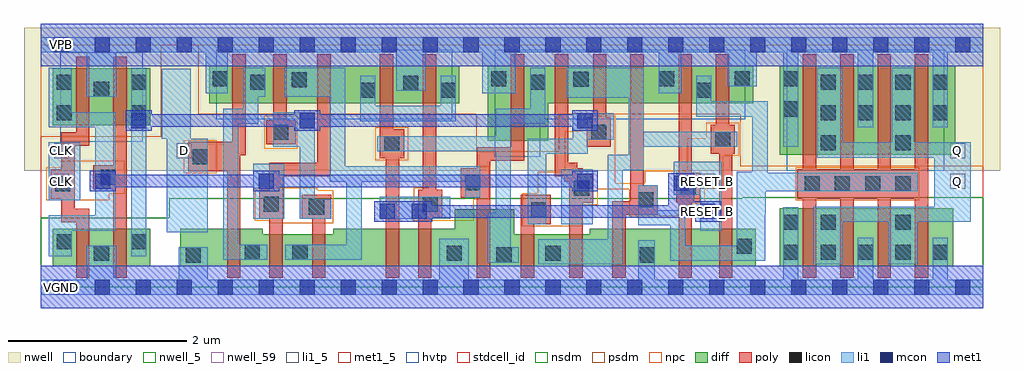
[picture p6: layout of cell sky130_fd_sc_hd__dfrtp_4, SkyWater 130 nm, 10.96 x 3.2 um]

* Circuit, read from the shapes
.subckt sky130_fd_sc_hd__dfrtp_4 CLK D Q RESET_B VGND VNB VPB VPWR
XM1 VGND CLK n1 VNB sky130_fd_pr__nfet_01v8 w=0.42 l=0.15
XM2 n2 n1 VGND VNB sky130_fd_pr__nfet_01v8 w=0.42 l=0.15
XM3 n3 D VGND VNB sky130_fd_pr__nfet_01v8 w=0.42 l=0.15
XM4 n4 n1 n3 VNB sky130_fd_pr__nfet_01v8 w=0.36 l=0.15
XM5 n5 n2 n4 VNB sky130_fd_pr__nfet_01v8 w=0.36 l=0.15
XM6 n6 n7 n5 VNB sky130_fd_pr__nfet_01v8 w=0.42 l=0.15
XM7 VGND RESET_B n6 VNB sky130_fd_pr__nfet_01v8 w=0.42 l=0.15
XM8 n7 n4 VGND VNB sky130_fd_pr__nfet_01v8 w=0.64 l=0.15
XM9 n8 n2 n7 VNB sky130_fd_pr__nfet_01v8 w=0.36 l=0.15
XM10 n9 n1 n8 VNB sky130_fd_pr__nfet_01v8 w=0.36 l=0.15
XM11 VGND n10 n9 VNB sky130_fd_pr__nfet_01v8 w=0.42 l=0.15
XM12 n11 RESET_B VGND VNB sky130_fd_pr__nfet_01v8 w=0.42 l=0.15
XM13 n10 n8 n11 VNB sky130_fd_pr__nfet_01v8 w=0.42 l=0.15
XM14 Q n10 VGND VNB sky130_fd_pr__nfet_01v8 w=0.65 l=0.15 m=4
XM15 VPWR CLK n1 VPB sky130_fd_pr__pfet_01v8_hvt w=0.64 l=0.15
XM16 n2 n1 VPWR VPB sky130_fd_pr__pfet_01v8_hvt w=0.64 l=0.15
XM17 n3 D VPWR VPB sky130_fd_pr__pfet_01v8_hvt w=0.42 l=0.15
XM18 n4 n2 n3 VPB sky130_fd_pr__pfet_01v8_hvt w=0.42 l=0.15
XM19 n12 n1 n4 VPB sky130_fd_pr__pfet_01v8_hvt w=0.42 l=0.15
XM20 VPWR n7 n12 VPB sky130_fd_pr__pfet_01v8_hvt w=0.42 l=0.15
XM21 n12 RESET_B VPWR VPB sky130_fd_pr__pfet_01v8_hvt w=0.42 l=0.15
XM22 n7 n4 VPWR VPB sky130_fd_pr__pfet_01v8_hvt w=0.84 l=0.15
XM23 n8 n1 n7 VPB sky130_fd_pr__pfet_01v8_hvt w=0.42 l=0.15
XM24 n13 n2 n8 VPB sky130_fd_pr__pfet_01v8_hvt w=0.42 l=0.15
XM25 VPWR n10 n13 VPB sky130_fd_pr__pfet_01v8_hvt w=0.42 l=0.15
XM26 n10 RESET_B VPWR VPB sky130_fd_pr__pfet_01v8_hvt w=0.42 l=0.15
XM27 VPWR n8 n10 VPB sky130_fd_pr__pfet_01v8_hvt w=0.42 l=0.15
XM28 Q n10 VPWR VPB sky130_fd_pr__pfet_01v8_hvt w=1 l=0.15 m=4
.ends

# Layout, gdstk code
import gdstk
lib = gdstk.Library(unit=1e-6, precision=1e-09)
def R(c, l, rs):  # rectangles x0, y0, x1, y1
    for r in rs: c.add(gdstk.rectangle(r[:2], r[2:], *l))
def A(c, l, x, y, w, h, nx, ny, dx, dy):  # array of equal rectangles
    R(c, l, [(x+i*dx, y+j*dy, x+i*dx+w, y+j*dy+h) for i in range(nx) for j in range(ny)])
nwell_5 = (64, 5)
nwell = (64, 20)
nwell_59 = (64, 59)
diff = (65, 20)
poly = (66, 20)
licon = (66, 44)
li1_5 = (67, 5)
li1 = (67, 20)
mcon = (67, 44)
met1_5 = (68, 5)
met1 = (68, 20)
hvtp = (78, 44)
stdcell_id = (81, 4)
nsdm = (93, 44)
psdm = (94, 20)
npc = (95, 20)
boundary = (235, 4)

sky130_fd_sc_hd__dfrtp_4 = lib.new_cell('sky130_fd_sc_hd__dfrtp_4')
R(sky130_fd_sc_hd__dfrtp_4, nwell_5, [(0.145,2.635,0.315,2.805)])
R(sky130_fd_sc_hd__dfrtp_4, nwell, [(-0.19,1.305,10.77,2.91)])
R(sky130_fd_sc_hd__dfrtp_4, nwell_59, [(0.145,-0.085,0.315,0.085)])
R(sky130_fd_sc_hd__dfrtp_4, diff, [(0.135,0.235,1.225,0.655), (1.565,0.235,8.025,0.595), (8.295,0.235,10.245,0.885), (1.565,0.595,2.49,0.655), (3.285,0.595,5.315,0.655), (6.165,0.595,8.025,0.655), (4.645,0.655,5.315,0.875), (8.295,1.485,10.27,2.485), (5.015,1.645,5.695,2.065), (0.135,1.815,1.225,2.455), (1.89,2.065,4.7,2.485), (5.015,2.065,8,2.485)])
A(sky130_fd_sc_hd__dfrtp_4, poly, 8.555, 0.105, 0.15, 0.89, 4, 1, 0.42, 0)
A(sky130_fd_sc_hd__dfrtp_4, poly, 8.555, 1.325, 0.15, 1.29, 4, 1, 0.42, 0)
R(sky130_fd_sc_hd__dfrtp_4, poly, [(0.395,0.105,0.545,0.73), (0.815,0.105,0.965,1.1), (2.09,0.105,2.24,1.3), (2.565,0.105,2.715,0.765), (3.045,0.105,3.195,0.765), (3.875,0.105,4.025,1.445), (4.235,0.105,4.385,0.765), (4.895,0.105,5.045,1.005), (5.39,0.105,5.54,0.705), (5.935,0.105,6.085,0.945), (6.415,0.105,6.565,0.815), (7.16,0.105,7.31,0.955), (7.615,0.105,7.765,1.495), (5.39,0.705,5.725,1.035), (0.23,0.73,0.545,0.88), (2.45,0.765,2.72,1.095), (2.93,0.765,3.26,1.035), (4.235,0.765,4.505,1.095), (6.415,0.815,6.925,0.965), (0.23,0.88,0.38,0.995), (5.935,0.945,6.205,1.185), (7.135,0.955,7.405,1.285), (6.62,0.965,6.925,1.145), (0.11,0.995,0.38,1.325), (8.495,0.995,9.965,1.325), (4.715,1.005,5.045,1.335), (2.565,1.095,2.72,1.245), (4.29,1.095,4.44,2.615), (0.59,1.1,0.965,1.37), (6.62,1.145,6.77,2.615), (5.875,1.185,6.205,1.245), (2.565,1.245,3.255,1.395), (5.77,1.245,6.205,1.275), (5.77,1.275,6.085,1.335), (7.16,1.285,7.31,2.615), (1.655,1.3,2.24,1.48), (0.23,1.325,0.38,1.59), (4.895,1.335,5.045,1.42), (5.77,1.335,6.02,1.395), (0.815,1.37,0.965,2.585), (3.105,1.395,3.255,2.615), (5.77,1.395,5.92,2.615), (4.895,1.42,5.425,1.57), (3.805,1.445,4.08,1.775), (1.655,1.48,2.3,1.63), (7.52,1.495,7.79,1.825), (5.275,1.57,5.425,2.615), (6.13,1.575,6.4,1.905), (0.23,1.59,0.545,1.74), (2.53,1.605,2.86,1.875), (2.15,1.63,2.3,2.615), (0.395,1.74,0.545,2.585), (3.805,1.775,3.955,2.615), (7.58,1.825,7.73,2.615), (2.61,1.875,2.76,2.615), (6.2,1.905,6.35,2.615)])
A(sky130_fd_sc_hd__dfrtp_4, licon, 8.335, 0.305, 0.17, 0.17, 5, 1, 0.42, 0)
A(sky130_fd_sc_hd__dfrtp_4, licon, 8.575, 1.075, 0.17, 0.17, 4, 1, 0.34, 0)
A(sky130_fd_sc_hd__dfrtp_4, licon, 8.755, 1.875, 0.17, 0.17, 4, 2, 0.42, 0.34)
R(sky130_fd_sc_hd__dfrtp_4, licon, [(1.625,0.275,1.795,0.445), (5.115,0.275,5.285,0.445), (6.725,0.275,6.895,0.445), (0.595,0.295,0.765,0.465), (4.555,0.295,4.725,0.465), (5.665,0.295,5.835,0.465), (2.29,0.305,2.46,0.475), (2.825,0.305,2.995,0.475), (7.815,0.375,7.985,0.545), (0.175,0.425,0.345,0.595), (1.015,0.425,1.185,0.595), (8.335,0.645,8.505,0.815), (8.755,0.645,8.925,0.815), (9.595,0.645,9.765,0.815), (5.505,0.785,5.675,0.955), (3.01,0.815,3.18,0.985), (2.5,0.845,2.67,1.015), (4.285,0.845,4.455,1.015), (6.705,0.895,6.875,1.065), (5.985,1.025,6.155,1.195), (7.185,1.035,7.355,1.205), (0.16,1.075,0.33,1.245), (4.765,1.085,4.935,1.255), (0.67,1.15,0.84,1.32), (1.705,1.38,1.875,1.55), (3.855,1.525,4.025,1.695), (8.755,1.535,8.925,1.705), (9.595,1.535,9.765,1.705), (7.57,1.575,7.74,1.745), (2.61,1.655,2.78,1.825), (6.18,1.655,6.35,1.825), (0.175,1.875,0.345,2.045), (1.015,1.875,1.185,2.045), (8.335,1.915,8.505,2.085), (3.585,2.125,3.755,2.295), (4.49,2.125,4.66,2.295), (7.36,2.125,7.53,2.295), (0.595,2.135,0.765,2.305), (4.07,2.205,4.24,2.375), (0.175,2.215,0.345,2.385), (1.015,2.215,1.185,2.385), (2.35,2.215,2.52,2.385), (5.495,2.215,5.665,2.385), (2.815,2.245,2.985,2.415), (5.98,2.25,6.15,2.42), (1.93,2.255,2.1,2.425), (5.055,2.255,5.225,2.425), (6.94,2.255,7.11,2.425), (7.79,2.255,7.96,2.425), (8.335,2.255,8.505,2.425)])
R(sky130_fd_sc_hd__dfrtp_4, li1_5, [(7.405,0.765,7.575,0.935), (0.15,1.105,0.32,1.275), (7.405,1.105,7.575,1.275), (10.21,1.105,10.38,1.275), (0.15,1.445,0.32,1.615), (1.525,1.445,1.695,1.615), (10.21,1.445,10.38,1.615)])
R(sky130_fd_sc_hd__dfrtp_4, li1, [(0,-0.085,10.58,0.085), (0.515,0.085,0.845,0.465), (1.545,0.085,1.875,0.445), (4.475,0.085,4.805,0.545), (6.705,0.085,6.895,0.525), (8.335,0.085,8.505,0.895), (9.175,0.085,9.345,0.555), (10.015,0.085,10.185,0.555), (5.585,0.255,6.535,0.535), (8.675,0.255,9.005,0.735), (9.515,0.255,9.845,0.735), (5.015,0.275,5.365,0.445), (7.065,0.295,8.135,0.465), (2.045,0.305,2.54,0.475), (2.745,0.305,3.6,0.475), (0.09,0.345,0.345,0.635), (1.015,0.345,1.185,2.465), (5.015,0.445,5.275,0.835), (7.065,0.465,7.235,0.695), (7.815,0.465,8.135,0.82), (2.045,0.475,2.215,1.835), (3.43,0.475,3.6,1.185), (6.365,0.535,6.535,1.315), (1.415,0.615,1.875,1.665), (0.09,0.635,0.84,0.805), (7.405,0.635,7.645,1.035), (6.705,0.695,7.235,0.865), (5.465,0.705,5.675,1.495), (5.845,0.705,6.195,1.325), (8.675,0.735,10.44,0.905), (2.385,0.765,2.735,1.385), (2.905,0.765,3.26,0.985), (3.805,0.765,4.595,1.015), (0.61,0.805,0.84,1.795), (7.815,0.82,8.14,1.075), (5.105,0.835,5.275,1.525), (6.705,0.865,6.925,1.145), (10.03,0.905,10.44,1.455), (0.09,0.975,0.44,1.625), (2.905,0.985,3.075,1.575), (4.765,1.005,4.935,1.185), (7.105,1.035,7.645,1.405), (7.815,1.075,9.845,1.285), (3.245,1.185,4.935,1.355), (7.815,1.285,8.16,1.295), (7.99,1.295,8.16,1.915), (6.365,1.315,6.77,1.485), (3.245,1.355,3.415,2.135), (8.715,1.455,10.44,1.625), (6.6,1.485,6.77,1.575), (5.465,1.495,6.14,1.655), (3.775,1.525,5.275,1.695), (2.61,1.575,3.075,1.965), (6.6,1.575,7.82,1.745), (8.335,1.575,8.505,2.635), (8.715,1.625,9.005,2.465), (9.555,1.625,9.805,2.465), (5.465,1.655,6.43,1.665), (1.355,1.665,1.68,2.45), (5.97,1.665,6.43,1.955), (5.105,1.695,5.275,1.835), (6.6,1.745,6.77,2.125), (0.09,1.795,0.84,1.965), (9.175,1.795,9.345,2.635), (10.015,1.795,10.185,2.635), (2.045,1.835,2.44,2.005), (5.105,1.835,5.665,2.005), (3.585,1.865,4.66,2.035), (7.36,1.915,8.16,2.085), (0.09,1.965,0.345,2.465), (2.27,2.005,2.44,2.135), (5.495,2.005,5.665,2.465), (3.585,2.035,3.755,2.375), (4.49,2.035,4.66,2.375), (7.36,2.085,7.53,2.375), (5.9,2.125,6.77,2.465), (0.515,2.135,0.845,2.635), (2.27,2.135,2.52,2.465), (2.735,2.135,3.415,2.465), (1.85,2.175,2.1,2.635), (4.955,2.175,5.325,2.635), (6.94,2.175,7.19,2.635), (3.99,2.205,4.32,2.635), (7.71,2.255,8.04,2.635), (0,2.635,10.58,2.805)])
A(sky130_fd_sc_hd__dfrtp_4, mcon, 0.145, -0.085, 0.17, 0.17, 23, 2, 0.46, 2.72)
R(sky130_fd_sc_hd__dfrtp_4, mcon, [(3.805,0.765,3.975,0.935), (4.165,0.765,4.335,0.935), (7.405,0.765,7.575,0.935), (7.105,1.08,7.275,1.25), (0.61,1.105,0.78,1.275), (2.445,1.105,2.615,1.275), (6.025,1.105,6.195,1.275), (1.015,1.785,1.185,1.955), (2.905,1.785,3.075,1.955), (6.025,1.785,6.195,1.955)])
R(sky130_fd_sc_hd__dfrtp_4, met1_5, [(0.145,-0.085,0.315,0.085), (0.145,2.635,0.315,2.805)])
R(sky130_fd_sc_hd__dfrtp_4, met1, [(0,-0.24,10.58,0.24), (3.745,0.735,4.395,0.78), (7.345,0.735,7.635,0.78), (3.745,0.78,7.635,0.92), (3.745,0.92,4.395,0.965), (7.045,0.92,7.635,0.965), (7.045,0.965,7.335,1.28), (0.55,1.075,0.84,1.12), (2.385,1.075,2.675,1.12), (5.965,1.075,6.255,1.12), (0.55,1.12,6.255,1.26), (0.55,1.26,0.84,1.305), (2.385,1.26,2.675,1.305), (5.965,1.26,6.255,1.305), (0.955,1.755,1.245,1.8), (2.845,1.755,3.135,1.8), (5.965,1.755,6.255,1.8), (0.955,1.8,6.255,1.94), (0.955,1.94,1.245,1.985), (2.845,1.94,3.135,1.985), (5.965,1.94,6.255,1.985), (0,2.48,10.58,2.96)])
R(sky130_fd_sc_hd__dfrtp_4, hvtp, [(8.375,1.305,10.145,2.665), (5.095,1.465,5.605,1.885), (0.215,1.635,1.145,2.635), (1.97,1.885,4.62,2.665), (5.095,1.885,7.91,2.665)])
R(sky130_fd_sc_hd__dfrtp_4, stdcell_id, [(0,0,10.58,2.72)])
R(sky130_fd_sc_hd__dfrtp_4, nsdm, [(0,0,10.58,0.78), (1.44,0.78,10.58,1), (7.88,1,10.58,1.01)])
R(sky130_fd_sc_hd__dfrtp_4, psdm, [(7.855,1.36,10.58,1.94), (4.89,1.52,5.82,1.94), (0,1.69,1.35,2.72), (1.765,1.94,10.58,2.72)])
R(sky130_fd_sc_hd__dfrtp_4, npc, [(5.405,0.685,6.08,0.925), (2.575,0.715,3.28,0.745), (2.4,0.745,3.28,1.085), (4.185,0.745,4.86,0.985), (6.605,0.795,7.28,0.935), (5.405,0.925,6.255,1.055), (6.605,0.935,7.455,1.1), (0.06,0.975,0.765,1.05), (8.475,0.975,9.865,1.345), (4.185,0.985,5.035,1.115), (0.06,1.05,0.94,1.345), (5.58,1.055,6.255,1.1), (2.4,1.085,3.105,1.115), (5.58,1.1,7.455,1.11), (5.58,1.11,7.665,1.165), (4.36,1.115,5.035,1.355), (5.58,1.165,6.45,1.295), (6.78,1.165,7.665,1.305), (1.605,1.28,1.975,1.65), (5.885,1.295,6.45,1.75), (7.26,1.305,7.665,1.475), (0.235,1.345,0.94,1.42), (3.755,1.425,4.125,1.795), (7.26,1.475,7.84,1.67), (2.51,1.555,2.88,1.925), (7.47,1.67,7.84,1.845), (6.08,1.75,6.45,1.925)])
R(sky130_fd_sc_hd__dfrtp_4, boundary, [(0,0,10.58,2.72)])
sky130_fd_sc_hd__dfrtp_4.add(gdstk.Label('CLK', (0.235,1.53), layer=67, texttype=5))
sky130_fd_sc_hd__dfrtp_4.add(gdstk.Label('CLK', (0.235,1.19), layer=67, texttype=5))
sky130_fd_sc_hd__dfrtp_4.add(gdstk.Label('D', (1.61,1.53), layer=67, texttype=5))
sky130_fd_sc_hd__dfrtp_4.add(gdstk.Label('RESET_B', (7.49,0.85), layer=67, texttype=5))
sky130_fd_sc_hd__dfrtp_4.add(gdstk.Label('RESET_B', (7.49,1.19), layer=67, texttype=5))
sky130_fd_sc_hd__dfrtp_4.add(gdstk.Label('VGND', (0.23,0), layer=68, texttype=5))
sky130_fd_sc_hd__dfrtp_4.add(gdstk.Label('VNB', (0.23,0), layer=64, texttype=59))
sky130_fd_sc_hd__dfrtp_4.add(gdstk.Label('VPB', (0.23,2.72), layer=64, texttype=5))
sky130_fd_sc_hd__dfrtp_4.add(gdstk.Label('VPWR', (0.23,2.72), layer=68, texttype=5))
sky130_fd_sc_hd__dfrtp_4.add(gdstk.Label('Q', (10.295,1.19), layer=67, texttype=5))
sky130_fd_sc_hd__dfrtp_4.add(gdstk.Label('Q', (10.295,1.53), layer=67, texttype=5))

lib.write_gds('sky130_fd_sc_hd__dfrtp_4.gds')
